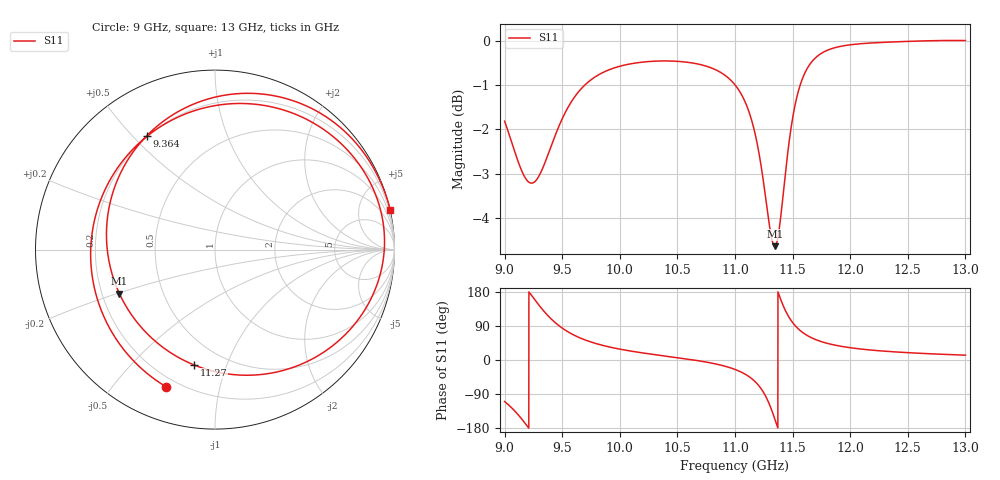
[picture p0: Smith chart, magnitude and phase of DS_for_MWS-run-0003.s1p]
! TOUCHSTONE file generated by CST DESIGN STUDIO
! Date and time: Tue Jan 28 13:43:13 2025
! Project name: C:\Work\MatlabApps\UnitCellOptimizationMatlab\CST\unitcell.cst
! Tree item: Tasks\Sweep1\SPara1\S-Parameters
! Header version: 2024
! Port assignment regex: !\s*Touchstone port\s*([0-9]+)\s*=\s*(CST MWS port|CST DES external port|CST DES block port)\s*(.+)\s* \(\"(.*)\"\)(\s*mode\s*([0-9]+))?.*
! Touchstone port assignment:
! Touchstone port 1 = CST DES external port 1 ("")
# GHz S MA R 50
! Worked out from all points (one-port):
!   4001 points, 9 GHz to 13 GHz, reference 50 ohm
!   lowest |S11| = -4.6 dB at 11.35 GHz (marker M1), VSWR 3.84, Z = 13.6 - j10.2 ohm
!   |S11| at or under -10 dB: nowhere
!   S11 on the Smith chart (normalised r, x): 9 GHz: 0.16, -0.69; 9.364 GHz: 0.20, +0.55; 11.27 GHz: 0.35, -0.77; 13 GHz: -0.01, +8.96
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9  0.8114 -109.6
9.091  0.7476 -135.5
9.196  0.6953 -174.2
9.273  0.6957 154.5
9.364  0.7363 121.0
9.5  0.8164 84.2
9.604  0.8627 65.4
9.715  0.8957 51.1
10  0.9357 28.7
10.5  0.9477 6.1
10.807  0.9302 -8.8
11  0.8915 -24.9
11.084  0.8551 -36.7
11.153  0.8058 -51.1
11.223  0.7273 -74.2
11.274  0.6531 -100.3
11.309  0.6071 -124.8
11.345  0.5864 -155.2
11.377  0.6048 176.3
11.409  0.6535 150.2
11.454  0.7402 120.8
11.5  0.8175 98.9
11.59  0.9092 72.0
11.69  0.954 55.1
11.82  0.9775 42.5
12  0.9893 32.4
12.5  0.9981 19.3
13  1 12.7
